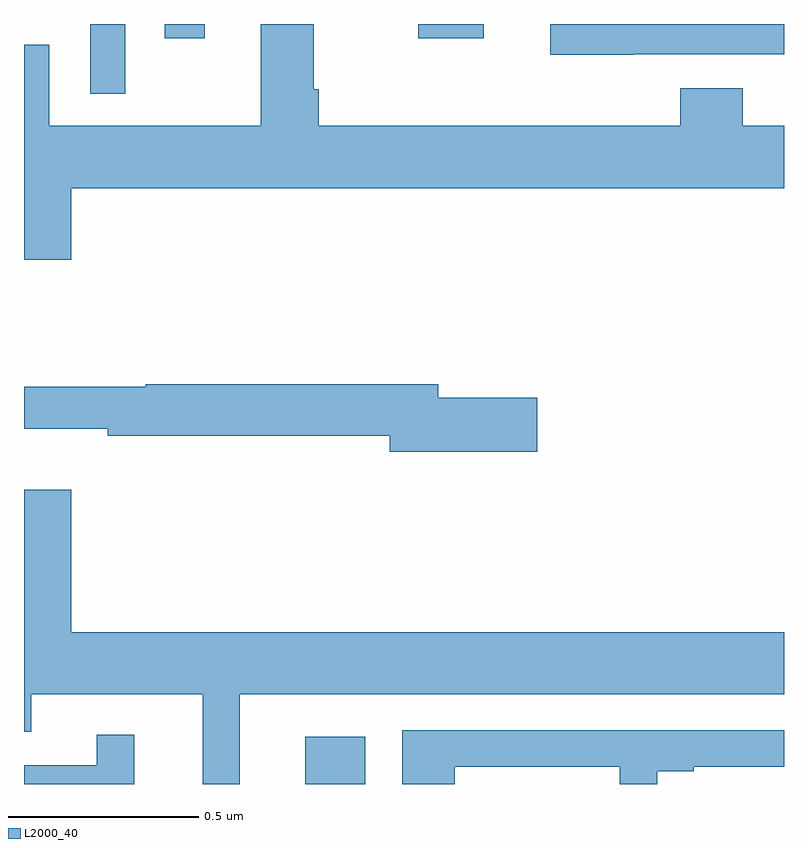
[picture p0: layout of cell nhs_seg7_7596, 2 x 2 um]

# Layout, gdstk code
import gdstk
lib = gdstk.Library(unit=1e-6, precision=1e-09)
def R(c, l, rs):  # rectangles x0, y0, x1, y1
    for r in rs: c.add(gdstk.rectangle(r[:2], r[2:], *l))
def P(c, l, *ps):  # polygons
    for p in ps: c.add(gdstk.Polygon(p, *l))
L2000_40 = (2000, 40)

nhs_seg7_7596 = lib.new_cell('nhs_seg7_7596')
R(nhs_seg7_7596, L2000_40, [(213.74,1047,213.898,1047.124), (213.174,1048.817,213.267,1049), (213.371,1048.962,213.475,1049), (214.037,1048.962,214.21,1049)])
P(nhs_seg7_7596, L2000_40, [(213.124,1048.568),(215,1048.568),(215,1048.732),(214.891,1048.732),(214.891,1048.831),(214.727,1048.831),(214.727,1048.732),(213.776,1048.732),(213.776,1048.828),(213.763,1048.828),(213.763,1049),(213.623,1049),(213.623,1048.732),(213.066,1048.732),(213.066,1048.946),(213,1048.946),(213,1048.38),(213.124,1048.38)],
  [(214.603,1048.92),(215,1048.92),(215,1049),(214.385,1049),(214.385,1048.919),(214.603,1048.919)],
  [(214.351,1048.016),(214.09,1048.016),(214.09,1048.052),(213.32,1048.052),(213.32,1048.045),(213,1048.045),(213,1047.935),(213.22,1047.935),(213.22,1047.916),(213.962,1047.916),(213.962,1047.874),(214.351,1047.874)],
  [(213.568,1047.236),(215,1047.236),(215,1047.4),(213.124,1047.4),(213.124,1047.775),(213,1047.775),(213,1047.137),(213.019,1047.137),(213.019,1047.236),(213.47,1047.236),(213.47,1047),(213.568,1047)],
  [(214.134,1047.045),(214.568,1047.045),(214.568,1047),(214.666,1047),(214.666,1047.033),(214.762,1047.033),(214.762,1047.045),(215,1047.045),(215,1047.141),(213.995,1047.141),(213.995,1047),(214.134,1047)],
  [(213.29,1047.13),(213.191,1047.13),(213.191,1047.049),(213,1047.049),(213,1047),(213.29,1047)])

lib.write_gds('nhs_seg7_7596.gds')
